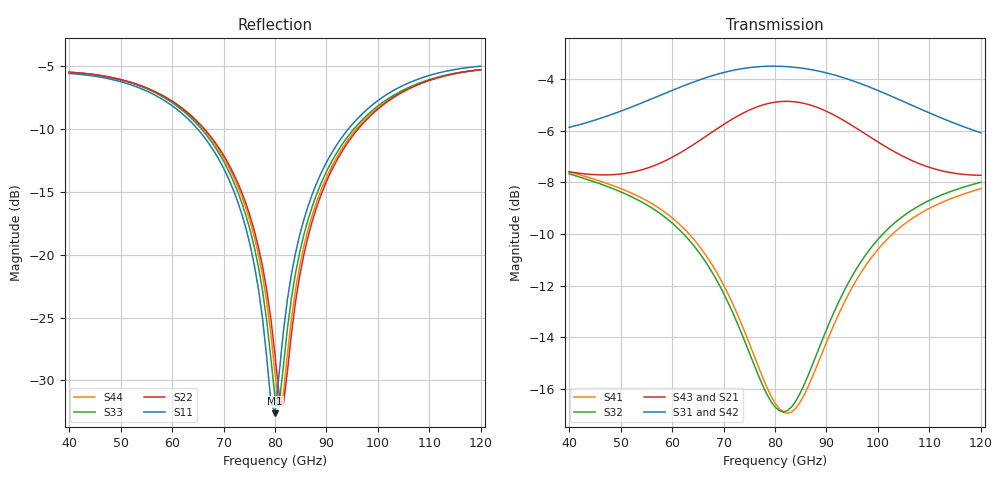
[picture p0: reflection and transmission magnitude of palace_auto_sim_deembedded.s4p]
! Created with skrf 2.0.1 (http://scikit-rf.org).
# GHz S DB R 50.0
!freq dBS11 angS11 dBS12 angS12 dBS13 angS13
! dBS14 angS14
! dBS21 angS21 dBS22 angS22 dBS23 angS23
! dBS24 angS24
! dBS31 angS31 dBS32 angS32 dBS33 angS33
! dBS34 angS34
! dBS41 angS41 dBS42 angS42 dBS43 angS43
! dBS44 angS44
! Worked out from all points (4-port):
!   101 points, 40 GHz to 120 GHz, reference 50 ohm
!   strongest paths, dB at 40 GHz, 60 GHz, 80 GHz, 100 GHz, 120 GHz:
!     S31: -5.9, -4.4, -3.5, -4.4, -6.1
!     S42: -5.9, -4.5, -3.5, -4.3, -6.0
!     S43: -7.6, -7.0, -4.9, -6.4, -7.7
!     S21: -7.5, -6.9, -4.9, -6.6, -8.0
!     S32: -7.7, -9.6, -16.7, -10.2, -8.0
!     S41: -7.6, -9.4, -16.5, -10.6, -8.2
!   lowest |S11| = -32.6 dB at 80 GHz (marker M1), VSWR 1.05, Z = 52.4 - j0.352 ohm
!   |S11| at or under -10 dB: 64.93 GHz to 94.26 GHz (29.33 GHz wide, 36.8 % of centre)
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40  -5.59 162.5  -7.51 -46.2  -5.87 -79.5  -7.60 -61.6
    -7.51 -46.2  -5.50 159.1  -7.67 -63.0  -5.92 -81.0
    -5.87 -79.5  -7.67 -63.0  -5.50 158.7  -7.59 -47.3
    -7.60 -61.6  -5.92 -81.0  -7.59 -47.3  -5.50 159.0
68.8  -12.22 114.6  -5.88 -68.6  -3.82 -145.6  -11.54 -108.2
      -5.88 -68.6  -11.33 110.2  -11.84 -109.2  -3.89 -147.4
      -3.82 -145.6  -11.84 -109.2  -11.73 108.1  -5.92 -69.7
      -11.54 -108.2  -3.89 -147.4  -5.92 -69.7  -11.49 109.4
76  -20.87 90.3  -5.11 -81.0  -3.54 -165.7  -14.74 -111.0
    -5.11 -81.0  -18.11 88.7  -15.10 -110.3  -3.58 -167.5
    -3.54 -165.7  -15.10 -110.3  -19.44 84.4  -5.12 -82.2
    -14.74 -111.0  -3.58 -167.5  -5.12 -82.2  -18.62 87.2
80  -32.61 -8.2  -4.90 -89.1  -3.51 -177.1  -16.55 -101.8
    -4.90 -89.1  -27.97 53.6  -16.70 -99.3  -3.52 -178.9
    -3.51 -177.1  -16.70 -99.3  -31.38 23.9  -4.90 -90.4
    -16.55 -101.8  -3.52 -178.9  -4.90 -90.4  -29.46 44.6
81.6  -26.20 -59.4  -4.88 -92.5  -3.51 178.3  -16.90 -95.5
      -4.88 -92.5  -32.00 -13.9  -16.89 -92.7  -3.51 176.5
      -3.51 178.3  -16.89 -92.7  -28.99 -51.2  -4.87 -93.8
      -16.90 -95.5  -3.51 176.5  -4.87 -93.8  -31.16 -32.2
91.2  -11.79 -101.5  -5.42 -111.8  -3.83 151.4  -13.63 -72.7
      -5.42 -111.8  -13.14 -106.0  -13.15 -73.5  -3.74 149.2
      -3.83 151.4  -13.15 -73.5  -12.46 -109.3  -5.37 -113.3
      -13.63 -72.7  -3.74 149.2  -5.37 -113.3  -12.85 -107.5
120  -5.01 -150.0  -7.98 -138.4  -6.08 83.8  -8.25 -114.6
     -7.98 -138.4  -5.30 -159.6  -8.00 -118.7  -5.96 79.5
     -6.08 83.8  -8.00 -118.7  -5.30 -160.9  -7.73 -141.7
     -8.25 -114.6  -5.96 79.5  -7.73 -141.7  -5.30 -160.2
